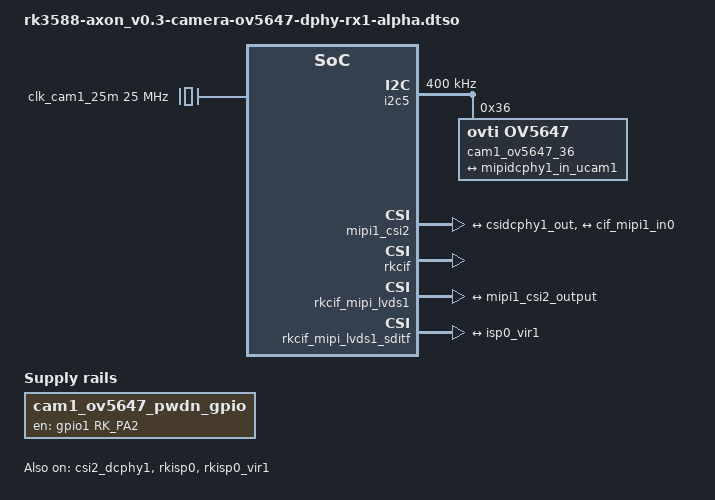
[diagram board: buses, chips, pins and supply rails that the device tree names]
// SPDX-License-Identifier: GPL-2.0+
// Copyright (C) 2024 Vicharak Computers PVT LTD

/dts-v1/;
/plugin/;

#include <dt-bindings/gpio/gpio.h>
#include <dt-bindings/pinctrl/rockchip.h>

&{/} {
	metadata {
		title = "Enable RasPi Camera V1.3 (OV5647) on dphy RX1 Aplha Axon V0.3";
		compatible = "vicharak,rk3588-axon", "rockchip,rk3588";
		category = "camera";
		exclusive = "cam1", "ov5647_5_36", "csi2_dcphy1", "mipi1_csi2", \
					"rkcif_mipi_lvds1", "rkcif_mipi_lvds1_sditf", "rkisp0_vir1";
		description = "Enables OV5647 based RaspberryPi Camera V1.3 on
\t\tVicharak Axon at I2C 5 bus address 36 on dphy RX0";
	};

	cam1_ov5647_pwdn_gpio: cam1-pwdn-gpio {
		status = "okay";
		compatible = "regulator-fixed";
		regulator-name = "cam1_pwdn_gpio";
		regulator-always-on;
		regulator-boot-on;
		enable-active-high;
		gpio = <&gpio1 RK_PA2 GPIO_ACTIVE_HIGH>;
		pinctrl-names = "default";
		pinctrl-0 = <&cam1_pwdn_gpio>;
	};

	clk_cam1_25m: external-cam1-clock-25m {
		#clock-cells = <0>;
		status = "okay";
		compatible = "fixed-clock";
		clock-frequency = <25000000>;
		clock-output-names = "clk_cam1_25m";
	};
};

&i2c5 {
	status = "okay";
	#address-cells = <1>;
	#size-cells = <0>;
	pinctrl-0 = <&i2c5m0_xfer>;
	clock-frequency = <400000>;
	cam1_ov5647_36: cam1-ov5647@36 {
	status = "okay";
		compatible = "ovti,ov5647";
		reg = <0x36>;
		
		clocks = <&clk_cam1_25m>;
		clock-names = "xvclk";

		rockchip,camera-module-index = <1>;
		rockchip,camera-module-facing = "back";
		rockchip,camera-module-name = "rpi-camera-v1";
		rockchip,camera-module-lens-name = "default";

		port {
			cam1_ov5647_out0: endpoint {
				remote-endpoint = <&mipidcphy1_in_ucam1>;
				data-lanes = <1 2>;
			};
		};
	};
};

&csi2_dcphy1 {
	status = "okay";

	ports {
		#address-cells = <1>;
		#size-cells = <0>;
	
		port@0 {
			reg = <0>;
			#address-cells = <1>;
			#size-cells = <0>;

			mipidcphy1_in_ucam1: endpoint@1 {
				reg = <1>;
				remote-endpoint = <&cam1_ov5647_out0>;
				data-lanes = <1 2>;
			};
		};

		port@1 {
			reg = <1>;
			#address-cells = <1>;
			#size-cells = <0>;

			csidcphy1_out: endpoint@0 {
				reg = <0>;
				remote-endpoint = <&mipi1_csi2_input>;
			};
		};
	};
};

&mipi1_csi2 {
	status = "okay";

	ports {
	#address-cells = <1>;
	#size-cells = <0>;
	
		port@0 {
			reg = <0>;
			#address-cells = <1>;
			#size-cells = <0>;
			
			mipi1_csi2_input: endpoint@1 {
				reg = <1>;
				remote-endpoint = <&csidcphy1_out>;
			};
		};
		
		port@1 {
			reg = <1>;
			#address-cells = <1>;
			#size-cells = <0>;
			
			mipi1_csi2_output: endpoint@0 {
				reg = <0>;
				remote-endpoint = <&cif_mipi1_in0>;
			};
		};
	};
};

&rkcif {
	status = "okay";
};

&rkcif_mipi_lvds1 {
	status = "okay";
	
	port {
		cif_mipi1_in0: endpoint {
			remote-endpoint = <&mipi1_csi2_output>;
		};
	};
};

&rkcif_mipi_lvds1_sditf {
	status = "okay";
	
	port {
		mipi1_lvds1_sditf: endpoint {
			remote-endpoint = <&isp0_vir1>;
		};
	};
};

&rkcif_mmu {
	status = "okay";
};

&rkisp0 {
	status = "okay";
};

&isp0_mmu {
	status = "okay";
};

&rkisp0_vir1 {
	status = "okay";
	
	port {
		#address-cells = <1>;
		#size-cells = <0>;
		
		isp0_vir1: endpoint@0 {
			reg = <0>;
			remote-endpoint = <&mipi1_lvds1_sditf>;
		};
	};
};

&pinctrl {
	camera {
		cam1_pwdn_gpio: cam1-pwdn-gpio {
			rockchip,pins = <1 RK_PA2 RK_FUNC_GPIO &pcfg_pull_up>;
		};
	};
};
